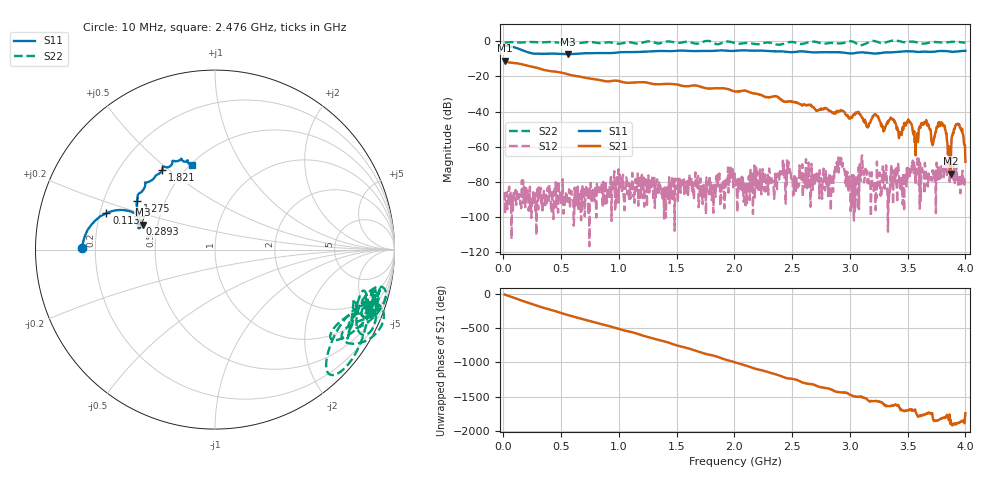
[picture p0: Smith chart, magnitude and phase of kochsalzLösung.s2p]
!  26/06/2026  14:25:35
! Ref Plane: 0.000 mm
# MHZ S MA R  50
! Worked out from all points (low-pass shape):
!   1001 points, 10 MHz to 4 GHz, reference 50 ohm
!   highest |S21| = -11.11 dB at 10 MHz (marker M1); lowest = -75.2 dB at 3.872 GHz (marker M2)
!   |S21| within 3 dB of the highest: start of sweep to 221.4 MHz
!   lowest |S11| = -7.4 dB at 556.6 MHz (marker M3), VSWR 2.49, Z = 20.6 + j7.01 ohm
!   |S11| at or under -10 dB: nowhere
!   |S22| runs from -2.3 to 0.4 dB; largest |S21 - S12| = 0.28
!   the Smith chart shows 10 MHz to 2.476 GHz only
!   S11 on the Smith chart (normalised r, x): 10 MHz: 0.15, +0.00; 113.7 MHz: 0.23, +0.16; 289.3 MHz: 0.40, +0.14; 1.275 GHz: 0.35, +0.25; 1.821 GHz: 0.38, +0.47; 2.476 GHz: 0.51, +0.63
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10  0.7398 179.4  0.2783 -11.3  5.228e-05 -42.4  0.9101 -20.1
113.74  0.6378 161.4  0.2365 -72.3  2.437e-05 -67.9  0.9268 -16.1
289.3  0.4416 161.0  0.1762 -173.2  4.921e-05 -76.8  0.9315 -19.0
556.63  0.4267 160.9  0.115 51.1  2.529e-05 -35.7  0.9429 -15.4
676.33  0.4494 162.1  0.0971 -5.0  6.797e-05 -179.2  0.8966 -24.2
1274.83  0.5118 148.0  0.06307 79.4  0.0001241 9.9  0.9774 -13.6
1342.66  0.5263 144.8  0.06002 48.0  4.203e-05 -19.6  0.865 -21.6
1821.46  0.533 123.5  0.04569 177.7  6.782e-05 -177.3  0.8866 -19.8
1917.22  0.5411 121.5  0.04546 123.6  3.583e-05 122.1  0.96 -46.7
2005  0.5319 117.0  0.03723 81.5  7.912e-05 45.0  0.8847 -17.0
2475.82  0.4885 105.4  0.01982 -154.4  0.0001885 -53.3  0.9403 -21.7
2671.33  0.4818 101.5  0.01437 124.2  7.952e-05 69.3  0.9646 -22.6
2918.71  0.4799 97.2  0.01023 5.0  0.0003145 -147.7  0.8628 -44.1
3002.5  0.4477 94.1  0.00629 -29.0  9.259e-05 -140.5  0.9926 -18.9
3337.66  0.4787 84.5  0.005577 163.1  2.591e-05 -160.3  0.9855 -36.1
3445.39  0.5082 83.6  0.002183 115.9  6.077e-05 -80.9  0.9658 -1.5
3656.86  0.5073 85.1  0.004687 50.3  0.0002279 -10.6  0.8618 -9.2
3724.69  0.4996 82.3  0.001537 -45.5  0.0001594 28.6  0.9496 -26.0
3800.5  0.5276 83.7  0.004701 -14.4  0.0002863 14.2  0.9139 -22.0
3872.32  0.5071 84.8  0.0001741 -38.2  0.0001095 -17.9  0.9515 -11.2
3932.17  0.5108 82.8  0.004455 -84.8  9.759e-05 -32.4  0.9551 -4.9
4000  0.5325 83.2  0.0003765 60.9  0.000113 17.1  0.9038 -9.6
